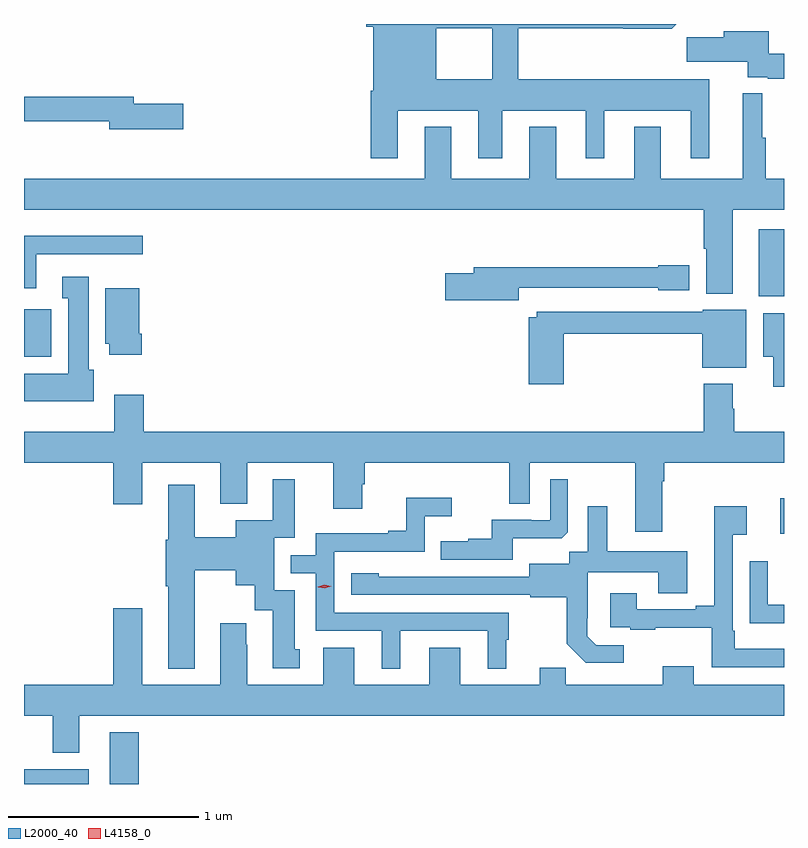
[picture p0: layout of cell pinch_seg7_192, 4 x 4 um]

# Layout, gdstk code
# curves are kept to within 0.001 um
import gdstk
lib = gdstk.Library(unit=1e-6, precision=1e-09)
def R(c, l, rs):  # rectangles x0, y0, x1, y1
    for r in rs: c.add(gdstk.rectangle(r[:2], r[2:], *l))
def P(c, l, *ps):  # polygons
    for p in ps: c.add(gdstk.Polygon(p, *l))
L2000_40 = (2000, 40)
L4158_0 = (4158, 0)

pinch_seg7_192 = lib.new_cell('pinch_seg7_192')
R(pinch_seg7_192, L2000_40, [(720.117,1028.23,720.457,1028.307), (720.569,1028.23,720.722,1028.503), (724.097,1029.546,724.117,1029.734), (720.117,1030.478,720.261,1030.728), (723.983,1030.796,724.117,1031.149)])
P(pinch_seg7_192, L2000_40, [(721.943,1031.878),(721.943,1031.523),(722.083,1031.523),(722.083,1031.774),(722.507,1031.774),(722.507,1031.523),(722.635,1031.523),(722.635,1031.774),(723.074,1031.774),(723.074,1031.523),(723.172,1031.523),(723.172,1031.774),(723.626,1031.774),(723.626,1031.523),(723.724,1031.523),(723.724,1031.938),(722.717,1031.938),(722.717,1032.208),(723.271,1032.208),(723.271,1032.206),(723.527,1032.206),(723.551,1032.23),(721.919,1032.23),(721.919,1032.216),(721.955,1032.216),(721.955,1031.938),(722.287,1031.938),(722.287,1032.208),(722.582,1032.208),(722.582,1031.938),(721.955,1031.938),(721.955,1031.878)],
  [(724.117,1032.074),(724.036,1032.074),(724.036,1032.193),(723.8,1032.193),(723.8,1032.161),(723.606,1032.161),(723.606,1032.032),(723.926,1032.032),(723.926,1031.951),(724.032,1031.951),(724.032,1031.941),(724.117,1031.941)],
  [(723.847,1031.252),(724.117,1031.252),(724.117,1031.416),(724.021,1031.416),(724.021,1031.632),(724.002,1031.632),(724.002,1031.866),(723.899,1031.866),(723.899,1031.416),(723.469,1031.416),(723.469,1031.689),(723.329,1031.689),(723.329,1031.416),(722.917,1031.416),(722.917,1031.689),(722.777,1031.689),(722.777,1031.416),(722.365,1031.416),(722.365,1031.689),(722.225,1031.689),(722.225,1031.416),(720.117,1031.416),(720.117,1031.252),(723.695,1031.252),(723.695,1031.047),(723.707,1031.047),(723.707,1030.811),(723.847,1030.811)],
  [(720.955,1031.81),(720.694,1031.81),(720.694,1031.846),(720.117,1031.846),(720.117,1031.718),(720.566,1031.718),(720.566,1031.675),(720.955,1031.675)],
  [(720.181,1031.019),(720.742,1031.019),(720.742,1031.116),(720.117,1031.116),(720.117,1030.838),(720.181,1030.838)],
  [(722.722,1030.842),(723.456,1030.842),(723.456,1030.829),(723.619,1030.829),(723.619,1030.959),(723.456,1030.959),(723.456,1030.951),(722.483,1030.951),(722.483,1030.917),(722.334,1030.917),(722.334,1030.775),(722.722,1030.775)],
  [(720.484,1030.41),(720.457,1030.41),(720.457,1030.9),(720.317,1030.9),(720.317,1030.787),(720.35,1030.787),(720.35,1030.39),(720.117,1030.39),(720.117,1030.244),(720.484,1030.244)],
  [(720.737,1030.6),(720.724,1030.6),(720.724,1030.84),(720.545,1030.84),(720.545,1030.548),(720.566,1030.548),(720.566,1030.488),(720.737,1030.488)],
  [(722.957,1030.6),(723.686,1030.6),(723.686,1030.421),(723.919,1030.421),(723.919,1030.726),(723.69,1030.726),(723.69,1030.716),(722.816,1030.716),(722.816,1030.687),(722.774,1030.687),(722.774,1030.335),(722.957,1030.335)],
  [(724.117,1030.708),(724.007,1030.708),(724.007,1030.478),(724.061,1030.478),(724.061,1030.32),(724.117,1030.32)],
  [(723.475,1029.824),(723.488,1029.824),(723.488,1029.92),(724.117,1029.92),(724.117,1030.084),(723.855,1030.084),(723.855,1030.205),(723.847,1030.205),(723.847,1030.336),(723.695,1030.336),(723.695,1030.084),(720.746,1030.084),(720.746,1030.279),(720.593,1030.279),(720.593,1030.084),(720.117,1030.084),(720.117,1029.92),(720.587,1029.92),(720.587,1029.702),(720.739,1029.702),(720.739,1029.92),(721.151,1029.92),(721.151,1029.704),(721.291,1029.704),(721.291,1029.92),(721.745,1029.92),(721.745,1029.678),(721.897,1029.678),(721.897,1029.807),(721.91,1029.807),(721.91,1029.92),(722.67,1029.92),(722.67,1029.706),(722.778,1029.706),(722.778,1029.92),(723.335,1029.92),(723.335,1029.558),(723.475,1029.558)],
  [(721.015,1029.356),(721.232,1029.356),(721.232,1029.275),(721.331,1029.275),(721.331,1029.144),(721.427,1029.144),(721.427,1028.838),(721.567,1028.838),(721.567,1028.94),(721.543,1028.94),(721.543,1029.249),(721.434,1029.249),(721.434,1029.525),(721.543,1029.525),(721.543,1029.835),(721.427,1029.835),(721.427,1029.619),(721.232,1029.619),(721.232,1029.528),(721.015,1029.528),(721.015,1029.805),(720.875,1029.805),(720.875,1029.516),(720.863,1029.516),(720.863,1029.272),(720.875,1029.272),(720.875,1028.837),(721.015,1028.837)],
  [(722.689,1029.524),(722.947,1029.524),(722.979,1029.555),(722.979,1029.835),(722.886,1029.835),(722.886,1029.618),(722.786,1029.618),(722.786,1029.621),(722.579,1029.621),(722.579,1029.52),(722.455,1029.52),(722.455,1029.508),(722.311,1029.508),(722.311,1029.411),(722.689,1029.411)],
  [(722.098,1029.036),(722.558,1029.036),(722.558,1028.837),(722.656,1028.837),(722.656,1028.988),(722.668,1028.988),(722.668,1029.132),(721.749,1029.132),(721.749,1029.453),(722.226,1029.453),(722.226,1029.638),(722.368,1029.638),(722.368,1029.737),(722.128,1029.737),(722.128,1029.562),(722.033,1029.562),(722.033,1029.549),(721.653,1029.549),(721.653,1029.435),(721.52,1029.435),(721.52,1029.339),(721.653,1029.339),(721.653,1029.036),(722,1029.036),(722,1028.837),(722.098,1028.837)],
  [(724.117,1028.941),(723.859,1028.941),(723.859,1029.037),(723.846,1029.037),(723.846,1029.542),(723.922,1029.542),(723.922,1029.691),(723.749,1029.691),(723.749,1029.169),(723.653,1029.169),(723.653,1029.15),(723.343,1029.15),(723.343,1029.235),(723.203,1029.235),(723.203,1029.054),(723.307,1029.054),(723.307,1029.042),(723.439,1029.042),(723.439,1029.053),(723.738,1029.053),(723.738,1028.844),(724.117,1028.844)],
  [(723.274,1028.961),(723.129,1028.961),(723.082,1029.008),(723.082,1029.103),(723.084,1029.103),(723.084,1029.344),(723.455,1029.344),(723.455,1029.235),(723.607,1029.235),(723.607,1029.454),(723.187,1029.454),(723.187,1029.691),(723.083,1029.691),(723.083,1029.452),(722.988,1029.452),(722.988,1029.388),(722.777,1029.388),(722.777,1029.321),(721.983,1029.322),(721.983,1029.34),(721.839,1029.34),(721.839,1029.225),(722.781,1029.225),(722.781,1029.213),(722.973,1029.213),(722.973,1028.967),(723.073,1028.867),(723.274,1028.867)],
  [(724.117,1029.174),(724.032,1029.174),(724.032,1029.403),(723.936,1029.403),(723.936,1029.077),(724.117,1029.077)],
  [(724.117,1028.752),(723.643,1028.752),(723.643,1028.851),(723.479,1028.851),(723.479,1028.752),(722.969,1028.752),(722.969,1028.843),(722.831,1028.843),(722.831,1028.752),(722.413,1028.752),(722.413,1028.947),(722.249,1028.947),(722.249,1028.752),(721.855,1028.752),(721.855,1028.947),(721.691,1028.947),(721.691,1028.752),(721.291,1028.752),(721.291,1028.963),(721.288,1028.963),(721.288,1029.076),(721.151,1029.076),(721.151,1028.752),(720.739,1028.752),(720.739,1029.154),(720.587,1029.154),(720.587,1028.752),(720.117,1028.752),(720.117,1028.588),(720.269,1028.588),(720.269,1028.394),(720.409,1028.394),(720.409,1028.588),(724.117,1028.588)])
P(pinch_seg7_192, L4158_0, [(721.7,1029.259),(721.665,1029.266),(721.664,1029.267),(721.665,1029.267),(721.698,1029.279),(721.733,1029.271),(721.734,1029.271),(721.733,1029.27)])

lib.write_gds('pinch_seg7_192.gds')
